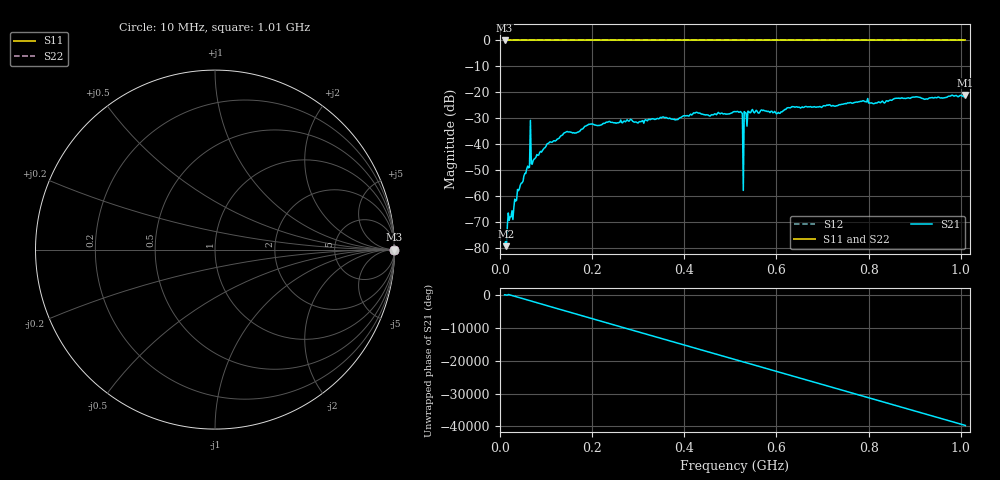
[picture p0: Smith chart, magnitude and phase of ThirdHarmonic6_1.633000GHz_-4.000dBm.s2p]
! 8/16/2025 7:31:09 PM
! C:\ANRITSUVNA\TEMP\TEMP.S2P
! CHANNEL.1
! TR.MEASUREMENT
! RAW.DATA
! RF.CORRECTION.OFF
! AVERAGING.OFF
! IF.BANDWIDTH: 5KHZ
! SWEEPTYPE:  FREQ.SWEEP(Linear)
! Reference Plane Port Info
! PORT:  PORT1  PORT2
! DISTANCE:  0  m  0  m
! TIME:  0  s  0  s
! PHASE.OFFSET:  0  deg.  0  deg.
! LOSS:  0  dB  0  dB
! REF.LOSS:  0  dB  0  dB
! REF.FREQ:  0  Hz  0  Hz
! Power Info
! POWER:  -20  dBm  -20  dBm
! EFF.POWER:  -20  dBm  -20  dBm
! SOURCE.ATTEN:  0  dB  0  dB
! TEST.ATTEN:  0  dB  0  dB
# GHZ S RI R 50.0
! FREQ.GHZ  S11RE  S11IM  S21RE  S21IM  S12RE  S12IM  S22RE  S22IM
!; PortSelection: Port_12
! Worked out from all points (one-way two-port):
!   501 points, 10 MHz to 1.01 GHz, reference 50 ohm
!   highest |S21| = -21.08 dB at 1.01 GHz (marker M1); lowest = -79.4 dB at 14 MHz (marker M2)
!   lowest |S11| = 0.0 dB at 10 MHz (marker M3)
!   |S11| at or under -10 dB: nowhere
!   |S22| runs from 0.0 to 0.0 dB; largest |S21 - S12| = 1.1
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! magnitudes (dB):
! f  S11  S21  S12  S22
! 10 MHz  0.0  -79.1  0.0  0.0
! 14 MHz  0.0  -79.4  0.0  0.0
! 22 MHz  0.0  -68.1  0.0  0.0
! 60 MHz  0.0  -48.5  0.0  0.0
! 62 MHz  0.0  -49.2  0.0  0.0
! 70 MHz  0.0  -47.7  0.0  0.0
! 72 MHz  0.0  -46.2  0.0  0.0
! 106 MHz  0.0  -39.6  0.0  0.0
! 142 MHz  0.0  -35.5  0.0  0.0
! 178 MHz  0.0  -34.2  0.0  0.0
! 196 MHz  0.0  -32.3  0.0  0.0
! 344 MHz  0.0  -30.3  0.0  0.0
! 510 MHz  0.0  -27.5  0.0  0.0
! 522 MHz  0.0  -27.4  0.0  0.0
! 524 MHz  0.0  -27.8  0.0  0.0
! 532 MHz  0.0  -27.9  0.0  0.0
! 534 MHz  0.0  -28.0  0.0  0.0
! 544 MHz  0.0  -27.9  0.0  0.0
! 604 MHz  0.0  -27.8  0.0  0.0
! 678 MHz  0.0  -25.7  0.0  0.0
! 844 MHz  0.0  -23.3  0.0  0.0
! 1.01 GHz  0.0  -21.1  0.0  0.0
